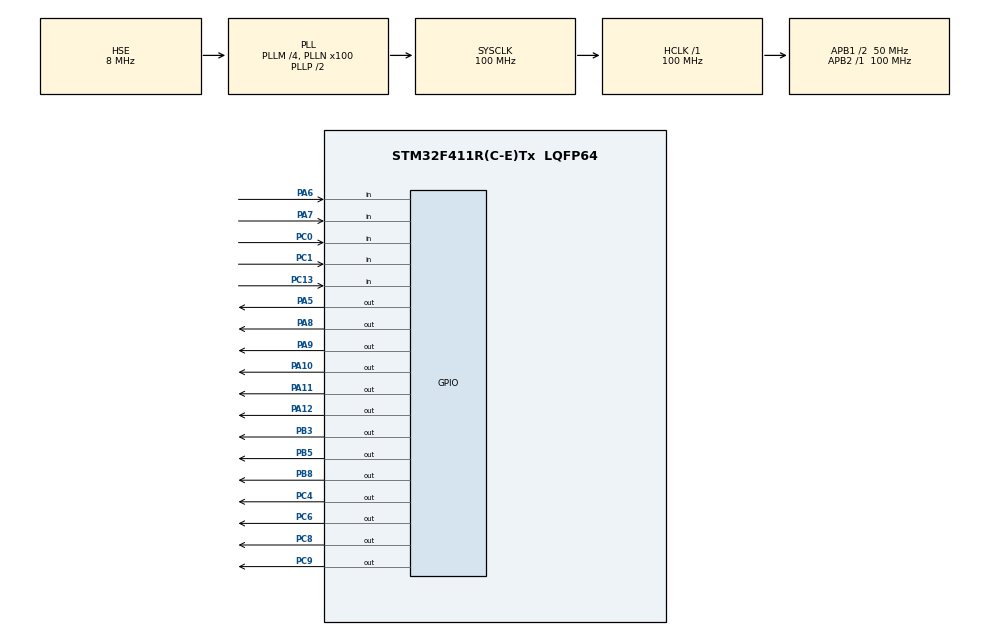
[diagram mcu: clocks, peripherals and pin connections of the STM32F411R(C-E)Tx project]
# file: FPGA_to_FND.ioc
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Mcu.Family=STM32F4
Mcu.Name=STM32F411R(C-E)Tx
Mcu.Package=LQFP64
NVIC.PriorityGroup=NVIC_PRIORITYGROUP_0
NVIC.TIM1_UP_TIM10_IRQn=true\:0\:0\:false\:false\:true\:true\:true\:true
NVIC.TIM5_IRQn=true\:0\:0\:false\:false\:true\:true\:true\:true
PA10.Signal=GPIO_Output
PA11.Signal=GPIO_Output
PA12.Signal=GPIO_Output
PA13.Signal=SYS_JTMS-SWDIO
PA14.GPIO_Label=TCK
PA14.Signal=SYS_JTCK-SWCLK
PA5.Signal=GPIO_Output
PA6.Signal=GPIO_Input
PA7.Signal=GPIO_Input
PA8.Signal=GPIO_Output
PA9.Signal=GPIO_Output
PB3.Signal=GPIO_Output
PB5.Signal=GPIO_Output
PB8.Signal=GPIO_Output
PC0.Signal=GPIO_Input
PC1.Signal=GPIO_Input
PC13-ANTI_TAMP.Signal=GPIO_Input
PC4.Signal=GPIO_Output
PC6.Signal=GPIO_Output
PC8.Signal=GPIO_Output
PC9.Signal=GPIO_Output
PH0\ -\ OSC_IN.Mode=HSE-External-Oscillator
PH0\ -\ OSC_IN.Signal=RCC_OSC_IN
PH1\ -\ OSC_OUT.Mode=HSE-External-Oscillator
PH1\ -\ OSC_OUT.Signal=RCC_OSC_OUT
ProjectManager.HeapSize=0x200
ProjectManager.StackSize=0x400
ProjectManager.TargetToolchain=STM32CubeIDE
RCC.48MHZClocksFreq_Value=50000000
RCC.AHBFreq_Value=100000000
RCC.APB1CLKDivider=RCC_HCLK_DIV2
RCC.APB1Freq_Value=50000000
RCC.APB1TimFreq_Value=100000000
RCC.APB2Freq_Value=100000000
RCC.APB2TimFreq_Value=100000000
RCC.CortexFreq_Value=100000000
RCC.FLatency-AdvancedSettings=FLASH_LATENCY_3
RCC.HCLKFreq_Value=100000000
RCC.HSE_VALUE=8000000
RCC.HSI_VALUE=16000000
RCC.LSE_VALUE=32768
RCC.PLLM=4
RCC.PLLN=100
RCC.PLLSourceVirtual=RCC_PLLSOURCE_HSE
RCC.SYSCLKFreq_VALUE=100000000
RCC.SYSCLKSource=RCC_SYSCLKSOURCE_PLLCLK
RCC.VCOOutputFreq_Value=200000000
TIM1.Period=100-1
TIM1.Prescaler=1000-1
TIM5.Period=100-1
TIM5.Prescaler=1000-1
VP_TIM1_VS_ClockSourceINT.Mode=Internal
VP_TIM5_VS_ClockSourceINT.Mode=Internal
board=NUCLEO-F411RE

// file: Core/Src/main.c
/* USER CODE BEGIN Header */
/**
  ******************************************************************************
  * @file           : main.c
  * @brief          : Main program body
  ******************************************************************************
  * @attention
  *
  * Copyright (c) 2022 STMicroelectronics.
  * All rights reserved.
  *
  * This software is licensed under terms that can be found in the LICENSE file
  * in the root directory of this software component.
  * If no LICENSE file comes with this software, it is provided AS-IS.
  *
  ******************************************************************************
  */
/* USER CODE END Header */
#include "main.h"

/* USER CODE BEGIN Includes */
#include "driver/Button/Button.h"
#include "driver/Led/Led.h"
#include "driver/FPGA_FND/FPGA_FND.h"
/* USER CODE END Includes */

TIM_HandleTypeDef htim1;
TIM_HandleTypeDef htim5;

void SystemClock_Config(void);
static void MX_GPIO_Init(void);
static void MX_TIM1_Init(void);
static void MX_TIM5_Init(void);

/* USER CODE BEGIN 0 */
void HAL_TIM_PeriodElapsedCallback(TIM_HandleTypeDef *htim)
{
	if(htim->Instance == TIM5) {
    FPGA_FND_DisplayFNDNumber();
	}
}
/* USER CODE END 0 */

int main(void)
{

  /* MCU Configuration--------------------------------------------------------*/

  /* Reset of all peripherals, Initializes the Flash interface and the Systick. */
  HAL_Init();

  /* Configure the system clock */
  SystemClock_Config();

  /* Initialize all configured peripherals */
  MX_GPIO_Init();
  MX_TIM1_Init();
  MX_TIM5_Init();
  /* USER CODE BEGIN 2 */

enum {RUNNING, PAUSE, RESET, END_START, IDLE};

  Button powerButton;
  Button_GetInstance(&powerButton, GPIOC, GPIO_PIN_0);

  Button resetButton;
  Button_GetInstance(&resetButton, GPIOA, GPIO_PIN_6);

  Led timeLed1min;
  Led_GetInstance(&timeLed1min, GPIOA, GPIO_PIN_8);

  Led timeLed2min;
  Led_GetInstance(&timeLed2min, GPIOA, GPIO_PIN_9);

  Led timeLed3min;
  Led_GetInstance(&timeLed3min, GPIOA, GPIO_PIN_10);

  Led timeLed4min;
  Led_GetInstance(&timeLed4min, GPIOA, GPIO_PIN_11);

  Led timeLed5min;
  Led_GetInstance(&timeLed5min, GPIOA, GPIO_PIN_12);

  /* USER CODE END 2 */

  /* Infinite loop */
  /* USER CODE BEGIN WHILE */
  HAL_TIM_Base_Start_IT(&htim5);
  int number = 0;
  int led_counter = 0;
  static int timerState = PAUSE;
  int buttonState = 0;

  while (1)
  {
    // Led_Level(number, &timeLed1min, &timeLed2min, &timeLed3min, &timeLed4min, &timeLed5min);

    switch(number % 600)
    {
      case 0:
        Led_Off(&timeLed1min);
        Led_Off(&timeLed2min);
        Led_Off(&timeLed3min);
        Led_Off(&timeLed4min);
        Led_Off(&timeLed5min);
        break;
      case 100:
        Led_On(&timeLed1min);
        break;
      case 200:
        Led_On(&timeLed2min);
        break;
      case 300:
        Led_On(&timeLed3min);
        break;
      case 400:
        Led_On(&timeLed4min);
        break;
      case 500:
        Led_On(&timeLed5min);
        break;
    }
    if (Button_GetState(&resetButton) == ACTIVE_RELEASE) {
      if(buttonState) timerState = RESET;
    }
    if (Button_GetState(&powerButton) == ACTIVE_RELEASE) {
      buttonState = !buttonState;
      if(buttonState) timerState = PAUSE;
      if(!buttonState) timerState = RUNNING;
    }
    switch (timerState)
    {
    case IDLE:
      FPGA_FND_SetNumber(number);
      break;
    case RUNNING:
      FPGA_FND_SetNumber(number++);
      break;
    case PAUSE:
      FPGA_FND_SetNumber(number);
      break;
    case RESET:
      number = 0;
      timerState = PAUSE;
      break;
    case END_START:
      FPGA_FND_SetValue(10);
      break;
    }
	  HAL_Delay(100);

    /* USER CODE END WHILE */

  }
}

void SystemClock_Config(void)
{
  RCC_OscInitTypeDef RCC_OscInitStruct = {0};
  RCC_ClkInitTypeDef RCC_ClkInitStruct = {0};

  /** Configure the main internal regulator output voltage
  */
  __HAL_RCC_PWR_CLK_ENABLE();
  __HAL_PWR_VOLTAGESCALING_CONFIG(PWR_REGULATOR_VOLTAGE_SCALE1);

  /** Initializes the RCC Oscillators according to the specified parameters
  * in the RCC_OscInitTypeDef structure.
  */
  RCC_OscInitStruct.OscillatorType = RCC_OSCILLATORTYPE_HSE;
  RCC_OscInitStruct.HSEState = RCC_HSE_ON;
  RCC_OscInitStruct.PLL.PLLState = RCC_PLL_ON;
  RCC_OscInitStruct.PLL.PLLSource = RCC_PLLSOURCE_HSE;
  RCC_OscInitStruct.PLL.PLLM = 4;
  RCC_OscInitStruct.PLL.PLLN = 100;
  RCC_OscInitStruct.PLL.PLLP = RCC_PLLP_DIV2;
  RCC_OscInitStruct.PLL.PLLQ = 4;
  if (HAL_RCC_OscConfig(&RCC_OscInitStruct) != HAL_OK)
  {
    Error_Handler();
  }

  /** Initializes the CPU, AHB and APB buses clocks
  */
  RCC_ClkInitStruct.ClockType = RCC_CLOCKTYPE_HCLK|RCC_CLOCKTYPE_SYSCLK
                              |RCC_CLOCKTYPE_PCLK1|RCC_CLOCKTYPE_PCLK2;
  RCC_ClkInitStruct.SYSCLKSource = RCC_SYSCLKSOURCE_PLLCLK;
  RCC_ClkInitStruct.AHBCLKDivider = RCC_SYSCLK_DIV1;
  RCC_ClkInitStruct.APB1CLKDivider = RCC_HCLK_DIV2;
  RCC_ClkInitStruct.APB2CLKDivider = RCC_HCLK_DIV1;

  if (HAL_RCC_ClockConfig(&RCC_ClkInitStruct, FLASH_LATENCY_3) != HAL_OK)
  {
    Error_Handler();
  }
}

static void MX_TIM1_Init(void)
{

  TIM_ClockConfigTypeDef sClockSourceConfig = {0};
  TIM_MasterConfigTypeDef sMasterConfig = {0};

  htim1.Instance = TIM1;
  htim1.Init.Prescaler = 1000-1;
  htim1.Init.CounterMode = TIM_COUNTERMODE_UP;
  htim1.Init.Period = 100-1;
  htim1.Init.ClockDivision = TIM_CLOCKDIVISION_DIV1;
  htim1.Init.RepetitionCounter = 0;
  htim1.Init.AutoReloadPreload = TIM_AUTORELOAD_PRELOAD_DISABLE;
  if (HAL_TIM_Base_Init(&htim1) != HAL_OK)
  {
    Error_Handler();
  }
  sClockSourceConfig.ClockSource = TIM_CLOCKSOURCE_INTERNAL;
  if (HAL_TIM_ConfigClockSource(&htim1, &sClockSourceConfig) != HAL_OK)
  {
    Error_Handler();
  }
  sMasterConfig.MasterOutputTrigger = TIM_TRGO_RESET;
  sMasterConfig.MasterSlaveMode = TIM_MASTERSLAVEMODE_DISABLE;
  if (HAL_TIMEx_MasterConfigSynchronization(&htim1, &sMasterConfig) != HAL_OK)
  {
    Error_Handler();
  }

}

static void MX_TIM5_Init(void)
{

  TIM_ClockConfigTypeDef sClockSourceConfig = {0};
  TIM_MasterConfigTypeDef sMasterConfig = {0};

  htim5.Instance = TIM5;
  htim5.Init.Prescaler = 1000-1;
  htim5.Init.CounterMode = TIM_COUNTERMODE_UP;
  htim5.Init.Period = 100-1;
  htim5.Init.ClockDivision = TIM_CLOCKDIVISION_DIV1;
  htim5.Init.AutoReloadPreload = TIM_AUTORELOAD_PRELOAD_DISABLE;
  if (HAL_TIM_Base_Init(&htim5) != HAL_OK)
  {
    Error_Handler();
  }
  sClockSourceConfig.ClockSource = TIM_CLOCKSOURCE_INTERNAL;
  if (HAL_TIM_ConfigClockSource(&htim5, &sClockSourceConfig) != HAL_OK)
  {
    Error_Handler();
  }
  sMasterConfig.MasterOutputTrigger = TIM_TRGO_RESET;
  sMasterConfig.MasterSlaveMode = TIM_MASTERSLAVEMODE_DISABLE;
  if (HAL_TIMEx_MasterConfigSynchronization(&htim5, &sMasterConfig) != HAL_OK)
  {
    Error_Handler();
  }

}

static void MX_GPIO_Init(void)
{
  GPIO_InitTypeDef GPIO_InitStruct = {0};

  /* GPIO Ports Clock Enable */
  __HAL_RCC_GPIOC_CLK_ENABLE();
  __HAL_RCC_GPIOH_CLK_ENABLE();
  __HAL_RCC_GPIOA_CLK_ENABLE();
  __HAL_RCC_GPIOB_CLK_ENABLE();

  /*Configure GPIO pin Output Level */
  HAL_GPIO_WritePin(GPIOA, GPIO_PIN_5|GPIO_PIN_8|GPIO_PIN_9|GPIO_PIN_10
                          |GPIO_PIN_11|GPIO_PIN_12, GPIO_PIN_RESET);

  /*Configure GPIO pin Output Level */
  HAL_GPIO_WritePin(GPIOC, GPIO_PIN_4|GPIO_PIN_6|GPIO_PIN_8|GPIO_PIN_9, GPIO_PIN_RESET);

  /*Configure GPIO pin Output Level */
  HAL_GPIO_WritePin(GPIOB, GPIO_PIN_3|GPIO_PIN_5|GPIO_PIN_8, GPIO_PIN_RESET);

  /*Configure GPIO pins : PC13 PC0 PC1 */
  GPIO_InitStruct.Pin = GPIO_PIN_13|GPIO_PIN_0|GPIO_PIN_1;
  GPIO_InitStruct.Mode = GPIO_MODE_INPUT;
  GPIO_InitStruct.Pull = GPIO_NOPULL;
  HAL_GPIO_Init(GPIOC, &GPIO_InitStruct);

  /*Configure GPIO pins : PA5 PA8 PA9 PA10
                           PA11 PA12 */
  GPIO_InitStruct.Pin = GPIO_PIN_5|GPIO_PIN_8|GPIO_PIN_9|GPIO_PIN_10
                          |GPIO_PIN_11|GPIO_PIN_12;
  GPIO_InitStruct.Mode = GPIO_MODE_OUTPUT_PP;
  GPIO_InitStruct.Pull = GPIO_NOPULL;
  GPIO_InitStruct.Speed = GPIO_SPEED_FREQ_LOW;
  HAL_GPIO_Init(GPIOA, &GPIO_InitStruct);

  /*Configure GPIO pins : PA6 PA7 */
  GPIO_InitStruct.Pin = GPIO_PIN_6|GPIO_PIN_7;
  GPIO_InitStruct.Mode = GPIO_MODE_INPUT;
  GPIO_InitStruct.Pull = GPIO_NOPULL;
  HAL_GPIO_Init(GPIOA, &GPIO_InitStruct);

  /*Configure GPIO pins : PC4 PC6 PC8 PC9 */
  GPIO_InitStruct.Pin = GPIO_PIN_4|GPIO_PIN_6|GPIO_PIN_8|GPIO_PIN_9;
  GPIO_InitStruct.Mode = GPIO_MODE_OUTPUT_PP;
  GPIO_InitStruct.Pull = GPIO_NOPULL;
  GPIO_InitStruct.Speed = GPIO_SPEED_FREQ_LOW;
  HAL_GPIO_Init(GPIOC, &GPIO_InitStruct);

  /*Configure GPIO pins : PB3 PB5 PB8 */
  GPIO_InitStruct.Pin = GPIO_PIN_3|GPIO_PIN_5|GPIO_PIN_8;
  GPIO_InitStruct.Mode = GPIO_MODE_OUTPUT_PP;
  GPIO_InitStruct.Pull = GPIO_NOPULL;
  GPIO_InitStruct.Speed = GPIO_SPEED_FREQ_LOW;
  HAL_GPIO_Init(GPIOB, &GPIO_InitStruct);

}

void Error_Handler(void)
{
  __disable_irq();
  while (1)
  {
  }
}
